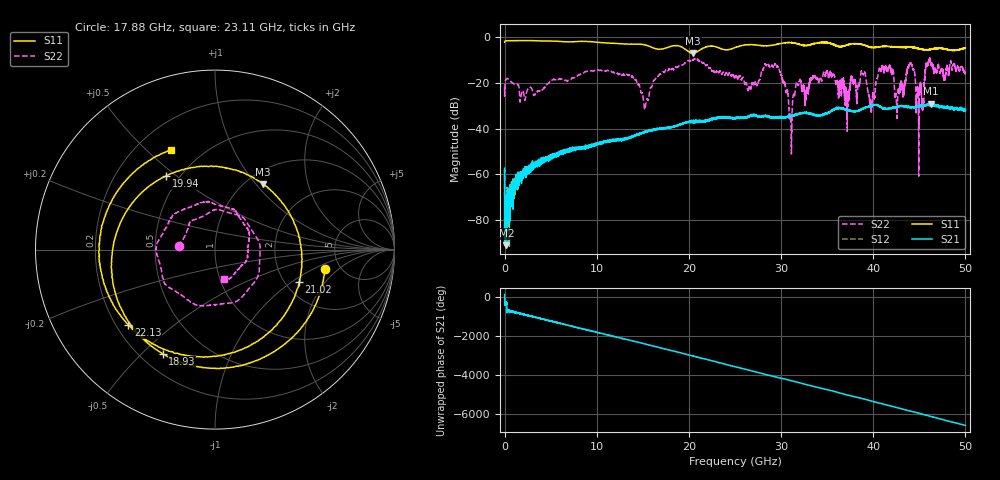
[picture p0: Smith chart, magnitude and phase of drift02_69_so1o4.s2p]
!Created with skrf (http://scikit-rf.org).
# Hz S RI R 50.0
!freq ReS11 ImS11 ReS21 ImS21 ReS12 ImS12 ReS22 ImS22
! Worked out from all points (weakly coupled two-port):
!   10001 points, 300 kHz to 50 GHz, reference 50 ohm
!   highest |S21| = -29.05 dB at 46.23 GHz (marker M1); lowest = -91.0 dB at 195.3 MHz (marker M2)
!   lowest |S11| = -6.9 dB at 20.44 GHz (marker M3), VSWR 2.65, Z = 59.7 + j54.4 ohm
!   |S11| at or under -10 dB: nowhere
!   |S22| runs from -60.7 to -9.0 dB; largest |S21 - S12| = 0.0039
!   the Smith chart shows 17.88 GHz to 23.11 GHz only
!   S11 on the Smith chart (normalised r, x): 17.88 GHz: 3.79, -1.33; 18.93 GHz: 0.29, -0.58; 19.94 GHz: 0.42, +0.46; 21.02 GHz: 2.37, -1.16; 22.13 GHz: 0.25, -0.35; 23.11 GHz: 0.34, +0.60
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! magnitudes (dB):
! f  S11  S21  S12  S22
! 300 kHz  -2.1  -58.0  -56.9  -21.7
! 195.3 MHz  -1.4  -91.0  -73.5  -18.1
! 8.335 GHz  -1.7  -48.2  -48.8  -15.7
! 15.33 GHz  -3.4  -41.3  -41.3  -29.1
! 16.67 GHz  -5.2  -40.2  -40.1  -17.0
! 17.88 GHz  -4.1  -39.4  -39.4  -13.8
! 18.93 GHz  -3.7  -38.4  -38.3  -12.5
! 19.94 GHz  -6.2  -37.1  -36.9  -10.1
! 20.44 GHz  -6.9  -36.6  -36.5  -10.0
! 21.02 GHz  -6.0  -36.7  -36.5  -9.9
! 22.13 GHz  -3.9  -36.2  -36.3  -13.1
! 23.11 GHz  -4.4  -35.1  -35.3  -15.3
! 25 GHz  -4.5  -35.5  -35.6  -17.5
! 29.51 GHz  -3.1  -35.1  -35.1  -12.7
! 31.03 GHz  -2.3  -34.7  -34.6  -34.5
! 33.34 GHz  -3.0  -33.6  -33.5  -18.2
! 38.91 GHz  -3.2  -31.2  -31.2  -16.2
! 39.73 GHz  -4.3  -30.1  -29.9  -29.9
! 41.67 GHz  -4.0  -31.3  -31.1  -13.1
! 45.16 GHz  -5.1  -30.2  -30.2  -20.1
! 46.23 GHz  -5.2  -29.0  -29.3  -10.7
! 50 GHz  -4.6  -32.0  -32.0  -16.2
